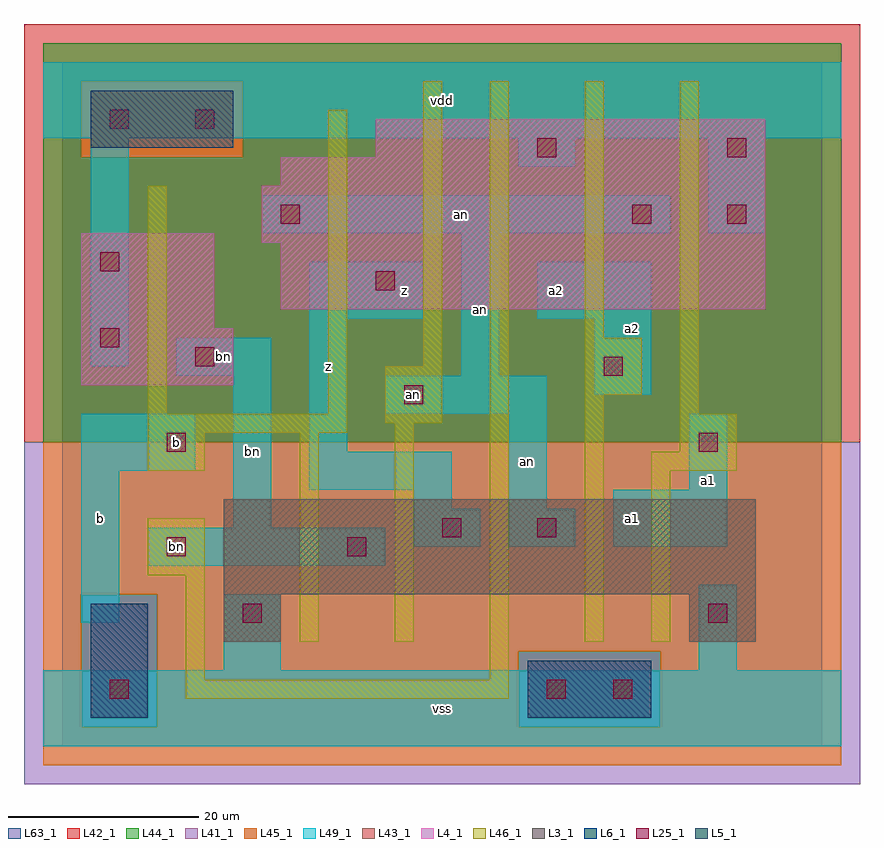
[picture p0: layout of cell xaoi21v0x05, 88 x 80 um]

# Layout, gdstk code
import gdstk
lib = gdstk.Library(unit=1e-6, precision=1e-09)
def R(c, l, rs):  # rectangles x0, y0, x1, y1
    for r in rs: c.add(gdstk.rectangle(r[:2], r[2:], *l))
L3_1 = (3, 1)
L4_1 = (4, 1)
L5_1 = (5, 1)
L6_1 = (6, 1)
L25_1 = (25, 1)
L41_1 = (41, 1)
L42_1 = (42, 1)
L43_1 = (43, 1)
L44_1 = (44, 1)
L45_1 = (45, 1)
L46_1 = (46, 1)
L49_1 = (49, 1)
L63_1 = (63, 1)

xaoi21v0x05 = lib.new_cell('xaoi21v0x05')
R(xaoi21v0x05, L3_1, [(17,11,23,16), (66,11,73,16), (17,16,73,26)])
R(xaoi21v0x05, L4_1, [(2,38,18,44), (2,44,16,54), (23,46,74,53), (21,53,74,59), (23,59,74,62), (33,62,74,66)])
R(xaoi21v0x05, L5_1, [(3,63,18,69)])
R(xaoi21v0x05, L6_1, [(3,3,9,15), (3,3,9,15), (49,3,62,9), (49,3,62,9)])
R(xaoi21v0x05, L25_1, [(5,5,7,7), (51,5,53,7), (58,5,60,7), (19,13,21,15), (68,13,70,15), (11,20,13,22), (30,20,32,22), (40,22,42,24), (50,22,52,24), (11,31,13,33), (67,31,69,33), (36,36,38,38), (57,39,59,41), (14,40,16,42), (4,42,6,44), (33,48,35,50), (4,50,6,52), (23,55,25,57), (60,55,62,57), (70,55,72,57), (50,62,52,64), (70,62,72,64), (5,65,7,67), (14,65,16,67)])
R(xaoi21v0x05, L41_1, [(-4,-4,84,32)])
R(xaoi21v0x05, L42_1, [(-4,32,84,76)])
R(xaoi21v0x05, L43_1, [(3,3,9,15), (49,3,62,9), (17,11,23,16), (66,11,73,16), (17,16,73,26), (2,38,18,44), (2,44,16,54), (23,46,74,53), (21,53,74,59), (23,59,74,62), (33,62,74,66), (3,63,18,69)])
R(xaoi21v0x05, L44_1, [(2,2,10,16), (48,2,63,10), (-2,32,82,62), (-2,62,2,70), (19,62,82,70), (-2,70,82,74)])
R(xaoi21v0x05, L45_1, [(-2,-2,82,2), (-2,2,2,16), (10,2,48,10), (63,2,82,10), (10,10,82,16), (-2,16,82,32), (2,62,19,70)])
R(xaoi21v0x05, L46_1, [(13,5,47,7), (13,7,15,18), (45,7,47,70), (25,11,27,33), (35,11,37,34), (55,11,57,37), (62,11,64,29), (9,18,15,24), (9,29,15,33), (62,29,71,31), (65,31,71,35), (9,33,30,35), (34,34,40,40), (9,35,11,59), (28,35,30,67), (65,35,67,70), (55,37,61,43), (38,40,40,70), (55,43,57,70)])
R(xaoi21v0x05, L49_1, [(-2,0,82,8), (17,8,23,16), (67,8,71,17), (2,13,6,29), (9,19,34,23), (37,21,44,25), (47,21,54,25), (58,21,70,27), (18,23,22,39), (37,25,41,27), (47,25,51,35), (26,27,41,31), (66,27,70,35), (2,29,14,35), (26,31,30,45), (34,35,51,39), (56,37,62,45), (12,39,22,43), (42,39,46,54), (3,40,7,64), (26,45,38,51), (50,45,62,51), (21,54,64,58), (68,54,74,64), (48,61,54,64), (-2,64,82,72)])
R(xaoi21v0x05, L63_1, [(0,0,80,72)])
xaoi21v0x05.add(gdstk.Label('bn', (12,21), layer=49, texttype=1))
xaoi21v0x05.add(gdstk.Label('an', (37,37), layer=49, texttype=1))
xaoi21v0x05.add(gdstk.Label('b', (12,32), layer=49, texttype=1))
xaoi21v0x05.add(gdstk.Label('b', (4,24), layer=49, texttype=1))
xaoi21v0x05.add(gdstk.Label('z', (28,40), layer=49, texttype=1))
xaoi21v0x05.add(gdstk.Label('bn', (20,31), layer=49, texttype=1))
xaoi21v0x05.add(gdstk.Label('bn', (17,41), layer=49, texttype=1))
xaoi21v0x05.add(gdstk.Label('z', (36,48), layer=49, texttype=1))
xaoi21v0x05.add(gdstk.Label('vss', (40,4), layer=49, texttype=1))
xaoi21v0x05.add(gdstk.Label('an', (49,30), layer=49, texttype=1))
xaoi21v0x05.add(gdstk.Label('a2', (52,48), layer=49, texttype=1))
xaoi21v0x05.add(gdstk.Label('an', (44,46), layer=49, texttype=1))
xaoi21v0x05.add(gdstk.Label('vdd', (40,68), layer=49, texttype=1))
xaoi21v0x05.add(gdstk.Label('a1', (60,24), layer=49, texttype=1))
xaoi21v0x05.add(gdstk.Label('a1', (68,28), layer=49, texttype=1))
xaoi21v0x05.add(gdstk.Label('a2', (60,44), layer=49, texttype=1))
xaoi21v0x05.add(gdstk.Label('an', (42,56), layer=49, texttype=1))

lib.write_gds('xaoi21v0x05.gds')
